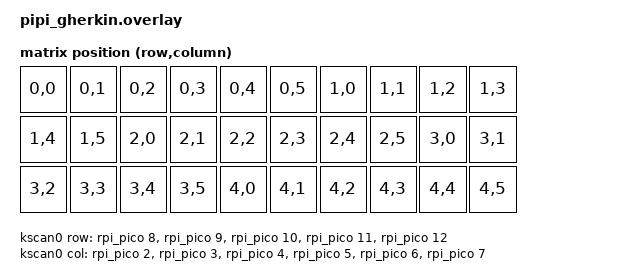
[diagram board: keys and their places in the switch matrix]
#include <dt-bindings/zmk/matrix_transform.h>

/ {
  kscan0: kscan {
    compatible = "zmk,kscan-gpio-matrix";
    wakeup-source;
    diode-direction = "col2row";
    col-gpios
      = <&rpi_pico 2 GPIO_ACTIVE_HIGH>
      , <&rpi_pico 3 GPIO_ACTIVE_HIGH>
      , <&rpi_pico 4 GPIO_ACTIVE_HIGH>
      , <&rpi_pico 5 GPIO_ACTIVE_HIGH>
      , <&rpi_pico 6 GPIO_ACTIVE_HIGH>
      , <&rpi_pico 7 GPIO_ACTIVE_HIGH>
      ;
    row-gpios
      = <&rpi_pico 8 (GPIO_ACTIVE_HIGH | GPIO_PULL_DOWN)>
      , <&rpi_pico 9 (GPIO_ACTIVE_HIGH | GPIO_PULL_DOWN)>
      , <&rpi_pico 10 (GPIO_ACTIVE_HIGH | GPIO_PULL_DOWN)>
      , <&rpi_pico 11 (GPIO_ACTIVE_HIGH | GPIO_PULL_DOWN)>
      , <&rpi_pico 12 (GPIO_ACTIVE_HIGH | GPIO_PULL_DOWN)>
      ;
  };
  default_transform: keymap_transform0 {
    compatible = "zmk,matrix-transform";
    columns = <10>;
    rows = <3>;
    map = <
      RC(0,0) RC(0,1) RC(0,2) RC(0,3) RC(0,4) RC(0,5) RC(1,0) RC(1,1) RC(1,2) RC(1,3)
      RC(1,4) RC(1,5) RC(2,0) RC(2,1) RC(2,2) RC(2,3) RC(2,4) RC(2,5) RC(3,0) RC(3,1)
      RC(3,2) RC(3,3) RC(3,4) RC(3,5) RC(4,0) RC(4,1) RC(4,2) RC(4,3) RC(4,4) RC(4,5)
    >;
  };
  physical_layout0: physical_layout_0 {
    compatible = "zmk,physical-layout";
    display-name = "Default Layout";
  };
  chosen {
    zmk,kscan = &kscan0;
    zmk,physical-layout = &physical_layout0;
  };
};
